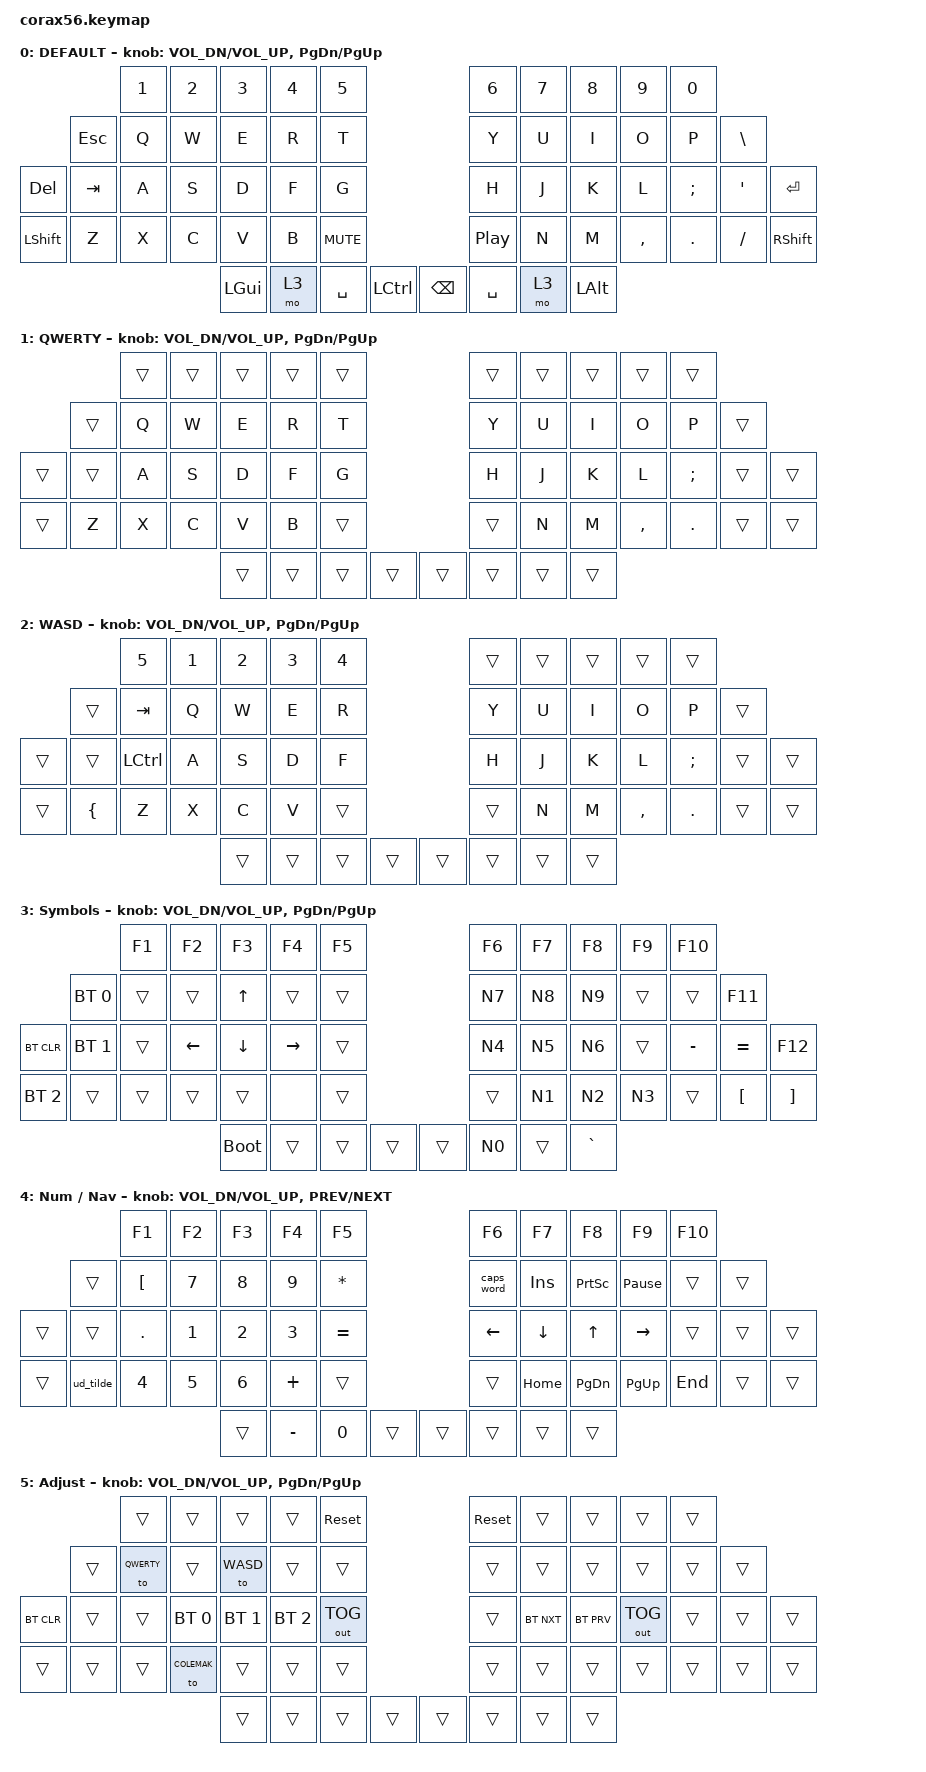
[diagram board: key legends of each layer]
#include <behaviors.dtsi>
#include <dt-bindings/zmk/bt.h>
#include <dt-bindings/zmk/keys.h>
#include <dt-bindings/zmk/outputs.h>

#define DEFAULT 0
#define QWERTY 1
#define WASD 2
#define SYM 3
#define NAV 4
#define ADJUST 5

// tapdance timing
#define TAPTERM 100

// additional caps word keys
&caps_word {
    continue-list = <UNDERSCORE MINUS LS(MINUS) UP DOWN LEFT RIGHT BSPC DEL>;
};

// faster layertap
&lt {
    quick-tap-ms = <0>;
    tapping-term-ms = <200>;
};

// faster modtap
&mt {
    tapping-term-ms = <200>;
};

/ {

    macros {
        // undead `
        ud_grave: ud_grave {
            label = "UNDEAD_GRAVE";
            compatible = "zmk,behavior-macro";
            #binding-cells = <0>;
            wait-ms = <10>;
            tap-ms = <10>;
            bindings = <&kp GRAVE &kp SPACE>;
        };

        // undead ~
        ud_tilde: ud_tilde {
            label = "UNDEAD_TILDE";
            compatible = "zmk,behavior-macro";
            #binding-cells = <0>;
            wait-ms = <10>;
            tap-ms = <10>;
            bindings = <&kp TILDE &kp SPACE>;
        };

        // undead ^
        ud_caret: ud_caret {
            label = "UNDEAD_CARET";
            compatible = "zmk,behavior-macro";
            #binding-cells = <0>;
            wait-ms = <10>;
            tap-ms = <10>;
            bindings = <&kp CARET &kp SPACE>;
        };

        // undead '
        ud_sqt: ud_sqt {
            label = "UNDEAD_SINGLE_QUOTE";
            compatible = "zmk,behavior-macro";
            #binding-cells = <0>;
            wait-ms = <10>;
            tap-ms = <10>;
            bindings = <&kp SQT &kp SPACE>;
        };

        // undead "
        ud_dqt: ud_dqt {
            label = "UNDEAD_DOUBLE_QUOTE";
            compatible = "zmk,behavior-macro";
            #binding-cells = <0>;
            wait-ms = <10>;
            tap-ms = <10>;
            bindings = <&kp LS(SQT) &kp SPACE>;
        };

    };

    combos {
        compatible = "zmk,combos";

        gm_capsword {
            bindings = <&caps_word>;
            // caps on G+M
            key-positions = <28 29>;
        };

        sticky_adjust {
            bindings = <&sl ADJUST>;
            // sticky adjust layer on LALT+RALT
            key-positions = <51 56>;
        };
    };

    keymap {
        compatible = "zmk,keymap";

        default_layer {
            label = "DEFAULT";
            bindings = <
                         &kp N1  &kp N2    &kp N3   &kp N4  &kp N5                               &kp N6    &kp N7    &kp N8   &kp N9    &kp N0
                &kp ESC   &kp Q   &kp W     &kp E    &kp R   &kp T                                &kp Y     &kp U     &kp I    &kp O     &kp P   &kp BSLH
&kp DEL         &kp TAB   &kp A   &kp S     &kp D    &kp F   &kp G                                &kp H     &kp J     &kp K    &kp L  &kp SEMI    &kp SQT  &kp ENTER
              &kp LSHFT   &kp Z   &kp X     &kp C    &kp V   &kp B    &kp C_MUTE       &kp C_PP   &kp N     &kp M &kp COMMA  &kp DOT  &kp FSLH  &kp RSHFT 
                                         &kp LGUI  &mo 3 &kp SPACE     &kp LCTRL       &kp BSPC &kp SPACE   &mo 3  &kp LALT
            >;

            sensor-bindings = <&inc_dec_kp C_VOL_DN C_VOL_UP &inc_dec_kp PG_DN PG_UP>;
        };

        qwerty_layer {
            label = "QWERTY";
            bindings = <
                &trans  &trans  &trans  &trans  &trans                    &trans  &trans     &trans   &trans    &trans
        &trans   &kp Q   &kp W   &kp E   &kp R   &kp T                     &kp Y   &kp U      &kp I    &kp O     &kp P  &trans
&trans  &trans   &kp A   &kp S   &kp D   &kp F   &kp G                     &kp H   &kp J      &kp K    &kp L  &kp SEMI  &trans  &trans
        &trans   &kp Z   &kp X   &kp C   &kp V   &kp B  &trans    &trans   &kp N   &kp M  &kp COMMA  &kp DOT    &trans  &trans
                                &trans  &trans  &trans  &trans    &trans  &trans  &trans     &trans
            >;

            sensor-bindings = <&inc_dec_kp C_VOL_DN C_VOL_UP &inc_dec_kp PG_DN PG_UP>;
        };

        gaming_layer {
            label = "WASD";
            bindings = <
                  &kp N5 &kp N1 &kp N2 &kp N3 &kp N4                    &trans  &trans     &trans   &trans    &trans
        &trans   &kp TAB  &kp Q  &kp W  &kp E  &kp R                     &kp Y   &kp U      &kp I    &kp O     &kp P  &trans
&trans  &trans &kp LCTRL  &kp A  &kp S  &kp D  &kp F                     &kp H   &kp J      &kp K    &kp L  &kp SEMI  &trans  &trans
        &trans  &kp LBRC  &kp Z  &kp X  &kp C  &kp V  &trans    &trans   &kp N   &kp M  &kp COMMA  &kp DOT    &trans  &trans
                                &trans &trans  &trans &trans    &trans  &trans  &trans     &trans
            >;

            sensor-bindings = <&inc_dec_kp C_VOL_DN C_VOL_UP &inc_dec_kp PG_DN PG_UP>;
        };

        // left mod
        sym_layer {
            label = "Symbols";
            bindings = <
                            &kp F1   &kp F2     &kp F3      &kp F4     &kp F5                     &kp F6   &kp F7   &kp F8  &kp F9   &kp F10
             &bt BT_SEL 0   &trans   &trans     &kp UP      &trans     &trans                     &N7      &N8      &N9     &trans   &trans   &kp F11
&bt BT_CLR   &bt BT_SEL 1   &trans   &kp LEFT   &kp DOWN    &kp RIGHT  &trans                     &N4      &N5      &N6     &trans   &kp MINUS   &kp EQUAL  &kp F12
             &bt BT_SEL 2   &trans   &trans     &trans      &trans     &none   &trans     &trans  &N1      &N2      &N3     &trans   &kp LBKT   &kp RBKT
                                                &bootloader &trans     &trans  &trans     &trans  &N0      &trans   &kp GRAVE
            >;

            sensor-bindings = <&inc_dec_kp C_VOL_DN C_VOL_UP &inc_dec_kp PG_DN PG_UP>;
        };

        // right mod
        nav_layer {
            label = "Num / Nav";
            bindings = <
                 &kp F1    &kp F2    &kp F3   &kp F4    &kp F5                         &kp F6     &kp F7        &kp F8           &kp F9  &kp F10
        &trans   &kp LBKT  &kp N7    &kp N8   &kp N9    &kp STAR                   &caps_word    &kp INS     &kp PSCRN  &kp PAUSE_BREAK  &trans  &trans
&trans  &trans   &kp DOT   &kp N1    &kp N2   &kp N3    &kp EQUAL                    &kp LEFT   &kp DOWN        &kp UP        &kp RIGHT  &trans  &trans  &trans
        &trans   &ud_tilde &kp N4    &kp N5   &kp N6    &kp PLUS &trans    &trans   &kp HOME  &kp PG_DN     &kp PG_UP          &kp END  &trans  &trans
                                    &trans   &kp MINUS &kp N0    &trans    &trans     &trans     &trans        &trans
            >;

            sensor-bindings = <&inc_dec_kp C_VOL_DN C_VOL_UP &inc_dec_kp C_PREV C_NEXT>;
        };

        adjust_layer {
            label = "Adjust";
            bindings = <
                        &trans        &trans        &trans        &trans    &sys_reset                &sys_reset      &trans      &trans        &trans  &trans
            &trans  &to QWERTY        &trans        &to WASD      &trans        &trans                    &trans      &trans      &trans        &trans  &trans  &trans
&bt BT_CLR  &trans      &trans  &bt BT_SEL 0  &bt BT_SEL 1  &bt BT_SEL 2  &out OUT_TOG                    &trans  &bt BT_NXT  &bt BT_PRV  &out OUT_TOG  &trans  &trans  &trans
            &trans      &trans        &trans         &to COLEMAK  &trans        &trans  &trans    &trans  &trans      &trans      &trans        &trans  &trans  &trans
                                                    &trans        &trans        &trans  &trans    &trans  &trans      &trans      &trans
            >;

            sensor-bindings = <&inc_dec_kp C_VOL_DN C_VOL_UP &inc_dec_kp PG_DN PG_UP>;
        };
    };
};
